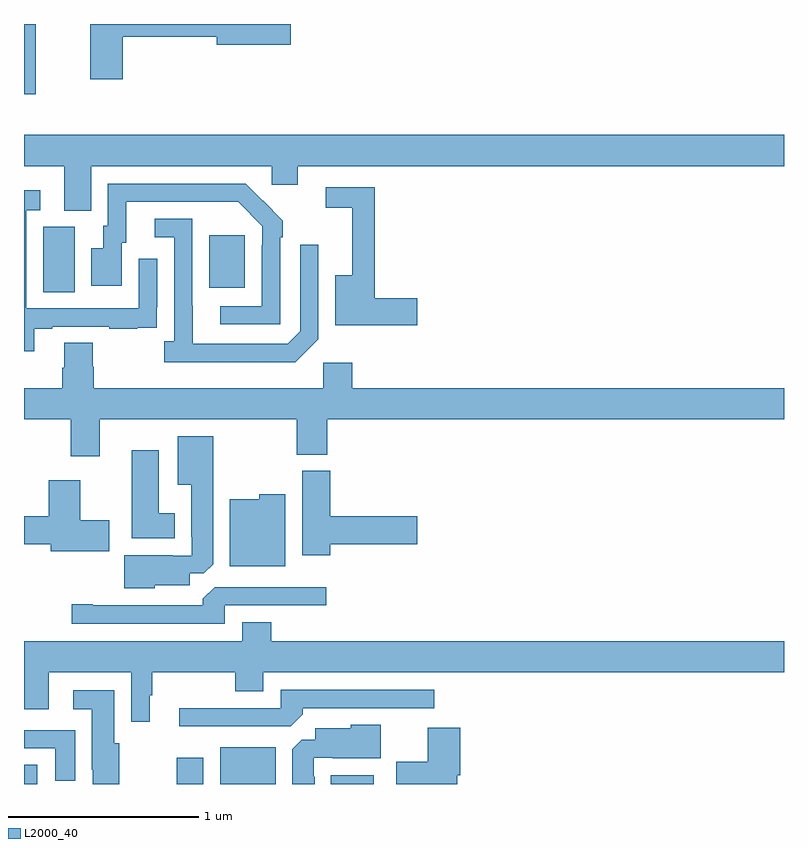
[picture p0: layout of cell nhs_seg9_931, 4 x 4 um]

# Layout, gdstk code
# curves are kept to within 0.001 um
import gdstk
lib = gdstk.Library(unit=1e-6, precision=1e-09)
def R(c, l, rs):  # rectangles x0, y0, x1, y1
    for r in rs: c.add(gdstk.rectangle(r[:2], r[2:], *l))
def P(c, l, *ps):  # polygons
    for p in ps: c.add(gdstk.Polygon(p, *l))
L2000_40 = (2000, 40)

nhs_seg9_931 = lib.new_cell('nhs_seg9_931')
R(nhs_seg9_931, L2000_40, [(161,1194.5,161.071,1194.602), (161.803,1194.5,161.944,1194.637), (162.032,1194.5,162.325,1194.694), (162.614,1194.5,162.841,1194.547), (161.102,1197.088,161.266,1197.432), (161.975,1197.113,162.163,1197.388), (161,1198.131,161.062,1198.5)])
P(nhs_seg9_931, L2000_40, [(161.519,1198.432),(162.014,1198.432),(162.014,1198.39),(162.403,1198.39),(162.403,1198.5),(161.348,1198.5),(161.348,1198.209),(161.519,1198.209)],
  [(161.353,1197.752),(162.303,1197.752),(162.303,1197.654),(162.442,1197.654),(162.442,1197.752),(165,1197.752),(165,1197.916),(161,1197.916),(161,1197.752),(161.213,1197.752),(161.213,1197.517),(161.353,1197.517)],
  [(162.348,1197.377),(162.363,1197.377),(162.363,1197.465),(162.166,1197.66),(161.442,1197.66),(161.442,1197.438),(161.417,1197.438),(161.417,1197.319),(161.354,1197.319),(161.354,1197.123),(161.515,1197.123),(161.515,1197.348),(161.539,1197.348),(161.539,1197.564),(162.127,1197.564),(162.255,1197.435),(162.255,1197.335),(162.252,1197.335),(162.252,1197.015),(162.033,1197.015),(162.033,1196.919),(162.348,1196.919)],
  [(163.069,1197.056),(162.845,1197.056),(162.845,1197.642),(162.588,1197.642),(162.588,1197.534),(162.728,1197.534),(162.728,1197.178),(162.638,1197.178),(162.638,1196.914),(163.069,1196.914)],
  [(161.053,1196.895),(161.149,1196.895),(161.149,1196.907),(161.449,1196.907),(161.449,1196.895),(161.597,1196.895),(161.597,1196.901),(161.699,1196.901),(161.699,1197.01),(161.7,1197.01),(161.7,1197.265),(161.604,1197.265),(161.604,1197.003),(161.013,1197.003),(161.013,1197.519),(161.086,1197.519),(161.086,1197.625),(161,1197.625),(161,1196.778),(161.053,1196.778)],
  [(162.549,1196.841),(162.549,1197.337),(162.453,1197.337),(162.453,1196.883),(162.387,1196.817),(161.887,1196.817),(161.886,1197.474),(161.688,1197.474),(161.688,1197.378),(161.79,1197.378),(161.79,1196.83),(161.739,1196.83),(161.739,1196.72),(162.428,1196.72)],
  [(161.398,1196.42),(162.436,1196.42),(162.436,1196.233),(162.596,1196.233),(162.596,1196.42),(165,1196.42),(165,1196.584),(162.728,1196.584),(162.728,1196.716),(162.576,1196.716),(162.576,1196.584),(161.366,1196.584),(161.366,1196.697),(161.361,1196.697),(161.361,1196.822),(161.213,1196.822),(161.213,1196.69),(161.201,1196.69),(161.201,1196.584),(161,1196.584),(161,1196.42),(161.246,1196.42),(161.246,1196.226),(161.398,1196.226)],
  [(161.688,1195.547),(161.872,1195.547),(161.872,1195.608),(161.946,1195.608),(161.995,1195.657),(161.995,1196.329),(161.81,1196.329),(161.81,1196.075),(161.879,1196.075),(161.879,1195.801),(161.883,1195.801),(161.883,1195.701),(161.783,1195.701),(161.783,1195.705),(161.528,1195.705),(161.528,1195.529),(161.688,1195.529)],
  [(161.794,1195.924),(161.71,1195.924),(161.71,1196.257),(161.567,1196.257),(161.567,1195.793),(161.794,1195.793)],
  [(162.611,1195.763),(163.069,1195.763),(163.069,1195.91),(162.611,1195.91),(162.611,1196.148),(162.464,1196.148),(162.464,1195.704),(162.611,1195.704)],
  [(161.449,1195.887),(161.296,1195.887),(161.296,1196.098),(161.129,1196.098),(161.129,1195.91),(161,1195.91),(161,1195.763),(161.141,1195.763),(161.141,1195.724),(161.449,1195.724)],
  [(162.376,1196.026),(162.237,1196.026),(162.237,1195.999),(162.083,1195.999),(162.083,1195.646),(162.376,1195.646)],
  [(162.057,1195.44),(162.592,1195.44),(162.592,1195.536),(162.003,1195.536),(161.942,1195.474),(161.942,1195.44),(161.362,1195.44),(161.362,1195.445),(161.25,1195.445),(161.25,1195.344),(162.057,1195.344)],
  [(161.662,1194.966),(161.674,1194.966),(161.674,1195.088),(162.112,1195.088),(162.112,1194.989),(162.259,1194.989),(162.259,1195.088),(165,1195.088),(165,1195.252),(162.302,1195.252),(162.302,1195.351),(162.149,1195.351),(162.149,1195.252),(161,1195.252),(161,1194.894),(161.131,1194.894),(161.131,1195.088),(161.565,1195.088),(161.565,1194.828),(161.662,1194.828)],
  [(162.467,1194.866),(162.467,1194.9),(163.159,1194.9),(163.159,1194.996),(162.351,1194.996),(162.351,1194.9),(161.817,1194.9),(161.817,1194.804),(162.405,1194.804)],
  [(161.502,1194.714),(161.476,1194.714),(161.476,1194.994),(161.259,1194.994),(161.259,1194.893),(161.357,1194.893),(161.357,1194.574),(161.361,1194.574),(161.361,1194.5),(161.502,1194.5)],
  [(162.529,1194.539),(162.525,1194.539),(162.525,1194.639),(162.625,1194.639),(162.625,1194.635),(162.877,1194.635),(162.877,1194.811),(162.72,1194.811),(162.72,1194.793),(162.533,1194.793),(162.533,1194.732),(162.462,1194.732),(162.413,1194.683),(162.413,1194.5),(162.529,1194.5)],
  [(163.28,1194.547),(163.295,1194.547),(163.295,1194.796),(163.124,1194.796),(163.124,1194.616),(162.96,1194.616),(162.96,1194.5),(163.28,1194.5)],
  [(161.269,1194.783),(161,1194.783),(161,1194.687),(161.165,1194.687),(161.165,1194.516),(161.269,1194.516)])

lib.write_gds('nhs_seg9_931.gds')
